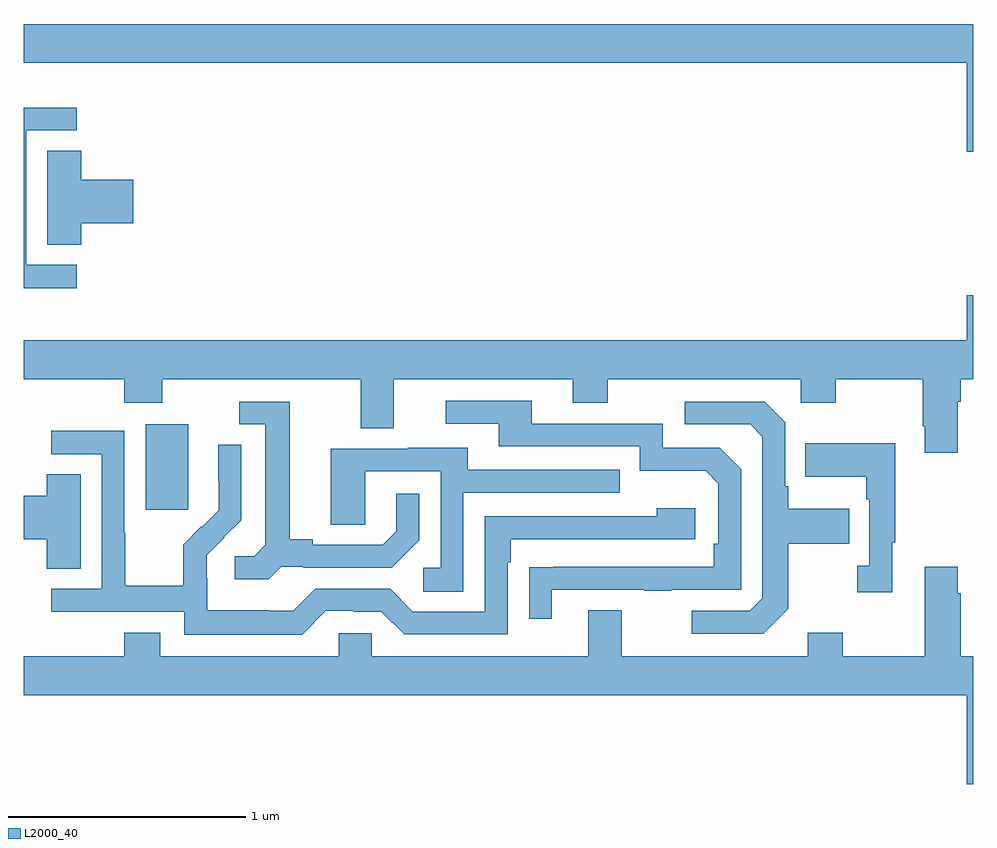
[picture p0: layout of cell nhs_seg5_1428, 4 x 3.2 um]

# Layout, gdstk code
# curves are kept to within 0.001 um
import gdstk
lib = gdstk.Library(unit=1e-6, precision=1e-09)
def R(c, l, rs):  # rectangles x0, y0, x1, y1
    for r in rs: c.add(gdstk.rectangle(r[:2], r[2:], *l))
def P(c, l, *ps):  # polygons
    for p in ps: c.add(gdstk.Polygon(p, *l))
L2000_40 = (2000, 40)

nhs_seg5_1428 = lib.new_cell('nhs_seg5_1428')
R(nhs_seg5_1428, L2000_40, [(197.513,872.193,197.692,872.554)])
P(nhs_seg5_1428, L2000_40, [(201,874.24),(197,874.24),(197,874.076),(200.972,874.076),(200.972,873.702),(201,873.702)],
  [(197.224,873.225),(197.01,873.225),(197.01,873.792),(197.224,873.792),(197.224,873.888),(197,873.888),(197,873.127),(197.224,873.127)],
  [(197.243,873.401),(197.461,873.401),(197.461,873.584),(197.243,873.584),(197.243,873.707),(197.099,873.707),(197.099,873.31),(197.243,873.31)],
  [(200.935,872.648),(200.948,872.648),(200.948,872.744),(201,872.744),(201,873.097),(200.972,873.097),(200.972,872.908),(197,872.908),(197,872.744),(197.423,872.744),(197.423,872.645),(197.583,872.645),(197.583,872.744),(198.419,872.744),(198.419,872.536),(198.559,872.536),(198.559,872.744),(199.313,872.744),(199.313,872.645),(199.461,872.645),(199.461,872.744),(200.274,872.744),(200.274,872.645),(200.421,872.645),(200.421,872.744),(200.788,872.744),(200.788,872.545),(200.795,872.545),(200.795,872.433),(200.935,872.433)],
  [(199.225,871.857),(199.615,871.857),(199.615,871.852),(199.727,871.852),(199.727,871.857),(200.022,871.857),(200.022,872.364),(199.932,872.454),(199.692,872.454),(199.692,872.556),(199.141,872.556),(199.141,872.652),(198.777,872.652),(198.777,872.556),(199.001,872.556),(199.001,872.46),(199.596,872.46),(199.596,872.357),(199.873,872.357),(199.926,872.304),(199.926,872.05),(199.906,872.05),(199.906,871.953),(199.129,871.952),(199.129,871.734),(199.225,871.734)],
  [(200.221,871.777),(200.221,872.05),(200.477,872.05),(200.477,872.197),(200.221,872.197),(200.221,872.293),(200.208,872.293),(200.208,872.562),(200.121,872.649),(199.785,872.649),(199.785,872.553),(200.061,872.553),(200.112,872.502),(200.112,871.821),(200.058,871.767),(199.815,871.767),(199.815,871.671),(200.115,871.671)],
  [(198.084,871.953),(198.178,871.953),(198.178,871.95),(198.55,871.95),(198.666,872.066),(198.666,872.26),(198.569,872.26),(198.569,872.103),(198.512,872.046),(198.217,872.046),(198.217,872.069),(198.121,872.069),(198.121,872.649),(197.907,872.649),(197.907,872.553),(198.017,872.553),(198.017,872.045),(197.97,871.998),(197.889,871.998),(197.889,871.901),(198.032,871.901)],
  [(198.273,871.767),(198.389,871.767),(198.389,871.764),(198.507,871.764),(198.603,871.668),(199.038,871.668),(199.038,871.973),(199.051,871.973),(199.051,872.07),(199.828,872.07),(199.828,872.2),(199.667,872.2),(199.667,872.166),(198.942,872.166),(198.942,871.764),(198.639,871.764),(198.543,871.86),(198.228,871.86),(198.135,871.767),(198.035,871.767),(198.035,871.771),(197.772,871.771),(197.772,871.905),(197.77,871.905),(197.77,872.002),(197.916,872.15),(197.916,872.468),(197.82,872.468),(197.82,872.314),(197.822,872.314),(197.822,872.192),(197.751,872.121),(197.748,872.124),(197.671,872.047),(197.671,871.873),(197.427,871.873),(197.427,872.096),(197.424,872.096),(197.424,872.526),(197.115,872.526),(197.115,872.427),(197.328,872.427),(197.328,871.86),(197.115,871.86),(197.115,871.764),(197.676,871.764),(197.676,871.667),(198.173,871.667)],
  [(200.659,872.057),(200.671,872.057),(200.671,872.473),(200.293,872.473),(200.293,872.333),(200.55,872.333),(200.55,872.237),(200.562,872.237),(200.562,871.958),(200.511,871.958),(200.511,871.845),(200.659,871.845)],
  [(198.852,872.265),(199.511,872.265),(199.511,872.361),(198.871,872.361),(198.871,872.455),(198.617,872.455),(198.617,872.451),(198.293,872.451),(198.293,872.131),(198.438,872.131),(198.438,872.355),(198.756,872.355),(198.756,871.95),(198.684,871.95),(198.684,871.849),(198.852,871.849)],
  [(197.239,872.342),(197.096,872.342),(197.096,872.252),(197,872.252),(197,872.069),(197.096,872.069),(197.096,871.945),(197.239,871.945)],
  [(201,871.576),(200.948,871.576),(200.948,871.841),(200.935,871.841),(200.935,871.954),(200.795,871.954),(200.795,871.576),(200.451,871.576),(200.451,871.675),(200.303,871.675),(200.303,871.576),(199.519,871.576),(199.519,871.771),(199.379,871.771),(199.379,871.576),(198.465,871.576),(198.465,871.674),(198.327,871.674),(198.327,871.576),(197.575,871.576),(197.575,871.675),(197.423,871.675),(197.423,871.576),(197,871.576),(197,871.412),(200.972,871.412),(200.972,871.038),(201,871.038)])

lib.write_gds('nhs_seg5_1428.gds')
